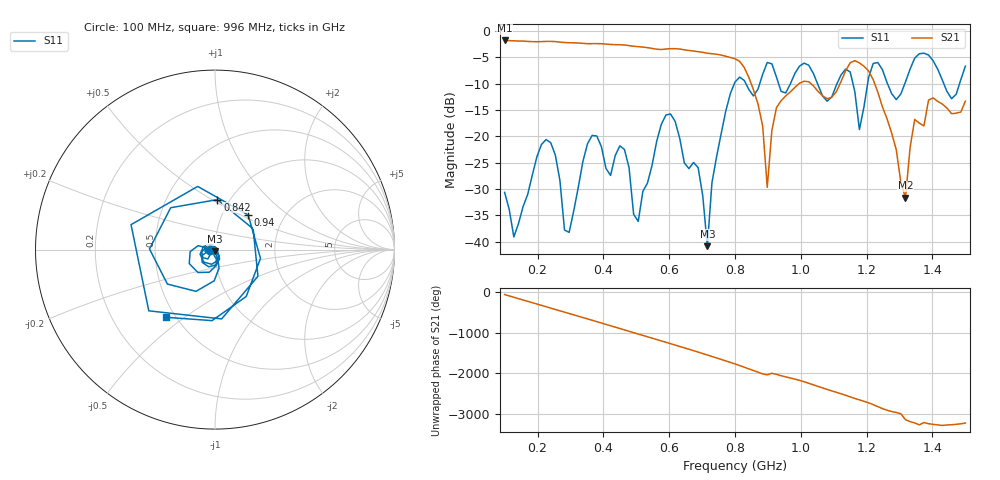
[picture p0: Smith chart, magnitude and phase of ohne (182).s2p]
! NanoVNA-App
! Date: 2025-09-25 14:22:13
! Start: 100MHz Stop: 1,5GHz Points: 101
! S-Parameter data: F S11 S21 S12 S22
# Hz S RI R 50
!  Frequency  S11_Real  S11_Imag  S21_Real  S21_Imag  S12_Real  S12_Imag  S22_Real  S22_Imag
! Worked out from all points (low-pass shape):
!   101 points, 100 MHz to 1.5 GHz, reference 50 ohm
!   highest |S21| = -1.79 dB at 100 MHz (marker M1); lowest = -31.6 dB at 1.318 GHz (marker M2)
!   |S21| within 3 dB of the highest: start of sweep to 771.8 MHz
!   lowest |S11| = -40.8 dB at 716 MHz (marker M3), VSWR 1.02, Z = 49.9 - j0.896 ohm
!   |S11| at or under -10 dB: start of sweep to 798 MHz; 833.1 MHz to 875.1 MHz (41.98 MHz wide, 4.92 % of centre); 1.051 GHz to 1.11 GHz (59.24 MHz wide, 5.48 % of centre)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
!   S12 and S22 are empty: the file has one direction only
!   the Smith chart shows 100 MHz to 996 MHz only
!   S11 on the Smith chart (normalised r, x): 100 MHz: 0.94, -0.01; 842 MHz: 0.88, +0.53; 940 MHz: 1.32, +0.55; 996 MHz: 0.45, -0.43
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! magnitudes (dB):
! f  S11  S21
! 100 MHz  -30.6  -1.8
! 128 MHz  -39.1  -1.9
! 226 MHz  -20.6  -2.0
! 296 MHz  -38.2  -2.2
! 338 MHz  -24.7  -2.3
! 464 MHz  -22.5  -2.7
! 506 MHz  -36.1  -3.0
! 576 MHz  -17.7  -3.5
! 688 MHz  -26.0  -3.9
! 716 MHz  -40.8  -4.2
! 800 MHz  -9.7  -5.3
! 842 MHz  -11.1  -8.8
! 898 MHz  -6.0  -29.7
! 940 MHz  -11.5  -13.2
! 996 MHz  -6.7  -9.9
! 1.038 GHz  -8.0  -10.4
! 1.178 GHz  -18.7  -6.1
! 1.22 GHz  -6.2  -9.3
! 1.276 GHz  -11.9  -19.4
! 1.318 GHz  -9.7  -31.6
! 1.346 GHz  -5.1  -16.8
! 1.5 GHz  -6.7  -13.3
